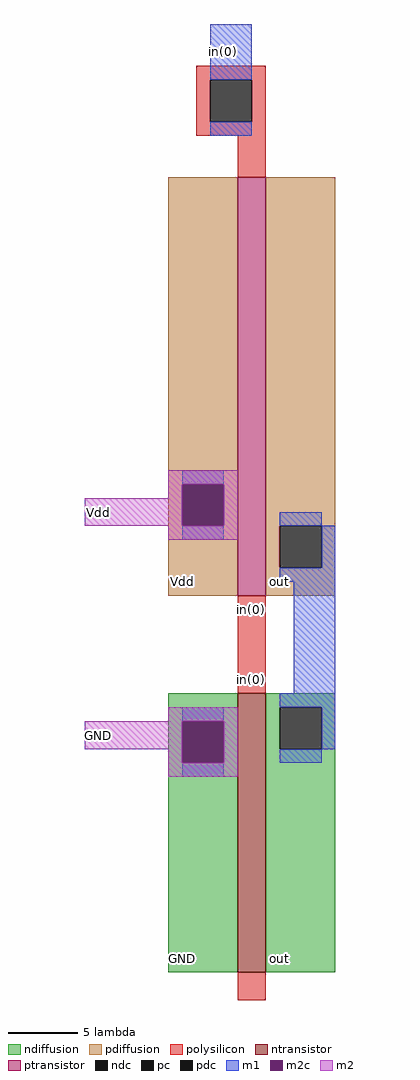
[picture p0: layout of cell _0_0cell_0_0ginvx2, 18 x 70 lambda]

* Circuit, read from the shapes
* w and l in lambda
.subckt _0_0cell_0_0ginvx2 Vdd GND in(0)
M1 out in(0) GND VSUBS nfet w=20 l=2
M2 out in(0) Vdd NWELL pfet w=30 l=2
.ends

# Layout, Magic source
magic
tech sky130l
<< ndiffusion >>
rect 6 22 11 24
rect 6 19 7 22
rect 10 19 11 22
rect 6 4 11 19
rect 13 23 18 24
rect 13 20 14 23
rect 17 20 18 23
rect 13 4 18 20
<< ndc >>
rect 7 19 10 22
rect 14 20 17 23
<< ntransistor >>
rect 11 4 13 24
<< pdiffusion >>
rect 6 39 11 61
rect 6 36 7 39
rect 10 36 11 39
rect 6 31 11 36
rect 13 36 18 61
rect 13 33 14 36
rect 17 33 18 36
rect 13 31 18 33
<< pdc >>
rect 7 36 10 39
rect 14 33 17 36
<< ptransistor >>
rect 11 31 13 61
<< polysilicon >>
rect 8 68 13 69
rect 8 65 9 68
rect 12 65 13 68
rect 8 64 13 65
rect 11 61 13 64
rect 11 24 13 31
rect 11 2 13 4
<< pc >>
rect 9 65 12 68
<< m1 >>
rect 9 68 12 72
rect 9 64 12 65
rect 7 39 10 40
rect 7 35 10 36
rect 14 36 17 37
rect 17 33 18 36
rect 14 32 18 33
rect 15 24 18 32
rect 14 23 18 24
rect 7 22 10 23
rect 17 20 18 23
rect 14 19 17 20
rect 7 18 10 19
<< m2c >>
rect 7 36 10 39
rect 7 19 10 22
<< m2 >>
rect 6 39 11 40
rect 6 38 7 39
rect 0 36 7 38
rect 10 36 11 39
rect 6 35 11 36
rect 6 22 11 23
rect 0 20 7 22
rect 6 19 7 20
rect 10 19 11 22
rect 6 18 11 19
<< labels >>
rlabel ndiffusion 14 5 14 5 3 out
rlabel pdiffusion 14 32 14 32 3 out
rlabel polysilicon 12 25 12 25 3 in(0)
rlabel polysilicon 12 30 12 30 3 in(0)
rlabel ndiffusion 7 5 7 5 3 GND
rlabel pdiffusion 7 32 7 32 3 Vdd
rlabel m2 1 37 1 37 3 Vdd
port 0 e
rlabel m2 1 21 1 21 3 GND
port 1 e
rlabel m1 10 70 10 70 3 in(0)
port 3 e
<< end >>
